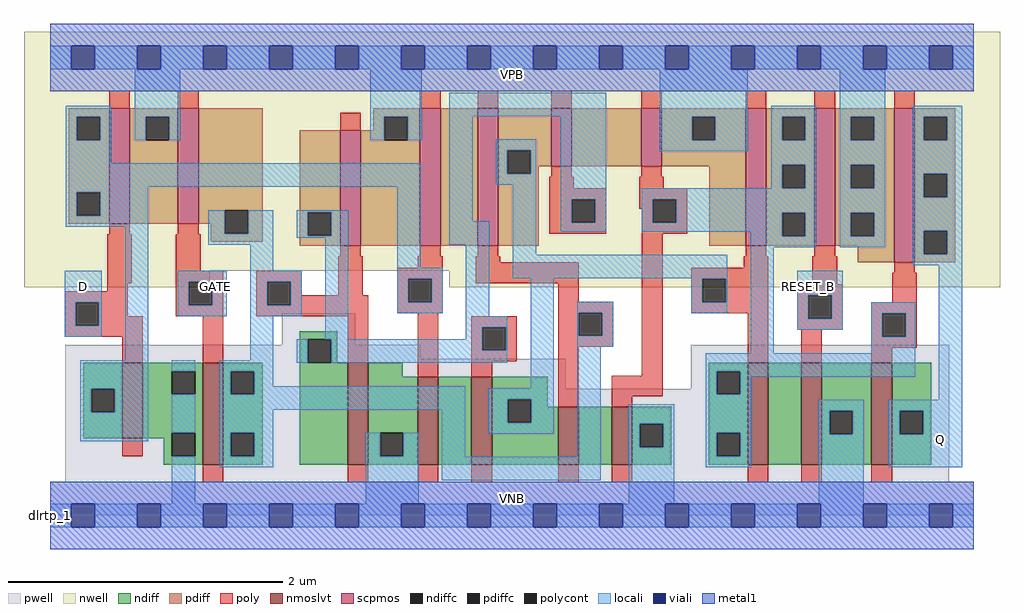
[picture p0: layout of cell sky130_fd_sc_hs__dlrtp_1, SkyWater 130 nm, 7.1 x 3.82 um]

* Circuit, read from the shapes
.subckt sky130_fd_sc_hs__dlrtp_1 D GATE RESET_B VGND VNB VPB VPWR Q
XM1 VGND D n1 VNB sky130_fd_pr__nfet_01v8_lvt w=0.55 l=0.15
XM2 n2 GATE VGND VNB sky130_fd_pr__nfet_01v8_lvt w=0.74 l=0.15
XM3 VGND n2 n3 VNB sky130_fd_pr__nfet_01v8_lvt w=0.74 l=0.15
XM4 n4 n1 VGND VNB sky130_fd_pr__nfet_01v8_lvt w=0.64 l=0.15
XM5 n5 n3 n4 VNB sky130_fd_pr__nfet_01v8_lvt w=0.64 l=0.15
XM6 n6 n2 n5 VNB sky130_fd_pr__nfet_01v8_lvt w=0.42 l=0.15
XM7 VGND n7 n6 VNB sky130_fd_pr__nfet_01v8_lvt w=0.42 l=0.15
XM8 n8 n5 n7 VNB sky130_fd_pr__nfet_01v8_lvt w=0.74 l=0.15
XM9 VGND RESET_B n8 VNB sky130_fd_pr__nfet_01v8_lvt w=0.74 l=0.15
XM10 Q n7 VGND VNB sky130_fd_pr__nfet_01v8_lvt w=0.74 l=0.15
XM11 VPWR D n1 VPB sky130_fd_pr__pfet_01v8 w=0.84 l=0.15
XM12 n2 GATE VPWR VPB sky130_fd_pr__pfet_01v8 w=0.84 l=0.15
XM13 VPWR n2 n3 VPB sky130_fd_pr__pfet_01v8 w=0.84 l=0.15
XM14 n9 n1 VPWR VPB sky130_fd_pr__pfet_01v8 w=1 l=0.15
XM15 n5 n2 n9 VPB sky130_fd_pr__pfet_01v8 w=1 l=0.15
XM16 n10 n3 n5 VPB sky130_fd_pr__pfet_01v8 w=0.42 l=0.15
XM17 VPWR n7 n10 VPB sky130_fd_pr__pfet_01v8 w=0.42 l=0.15
XM18 n7 n5 VPWR VPB sky130_fd_pr__pfet_01v8 w=1 l=0.15
XM19 VPWR RESET_B n7 VPB sky130_fd_pr__pfet_01v8 w=1 l=0.15
XM20 Q n7 VPWR VPB sky130_fd_pr__pfet_01v8 w=1.12 l=0.15
.ends

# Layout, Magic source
magic
tech sky130A
magscale 1 2
<< nwell >>
rect -38 356 1382 704
rect -38 332 232 356
rect 581 332 1382 356
<< pwell >>
rect 337 248 444 294
rect 22 228 539 248
rect 22 184 750 228
rect 932 184 1308 248
rect 22 49 1308 184
rect 0 0 1344 49
<< scpmos >>
rect 86 424 116 592
rect 186 424 216 592
rect 422 392 452 560
rect 538 392 568 592
rect 622 392 652 592
rect 729 508 759 592
rect 860 508 890 592
rect 1012 392 1042 592
rect 1112 392 1142 592
rect 1228 368 1258 592
<< nmoslvt >>
rect 105 112 135 222
rect 222 74 252 222
rect 433 74 463 222
rect 535 74 565 202
rect 613 74 643 202
rect 739 74 769 158
rect 817 74 847 158
rect 1015 74 1045 222
rect 1093 74 1123 222
rect 1195 74 1225 222
<< ndiff >>
rect 363 256 418 268
rect 363 222 375 256
rect 409 222 418 256
rect 48 184 105 222
rect 48 150 60 184
rect 94 150 105 184
rect 48 112 105 150
rect 135 210 222 222
rect 135 176 177 210
rect 211 176 222 210
rect 135 120 222 176
rect 135 112 177 120
rect 165 86 177 112
rect 211 86 222 120
rect 165 74 222 86
rect 252 210 309 222
rect 252 176 263 210
rect 297 176 309 210
rect 252 120 309 176
rect 252 86 263 120
rect 297 86 309 120
rect 252 74 309 86
rect 363 74 433 222
rect 463 202 513 222
rect 463 120 535 202
rect 463 86 480 120
rect 514 86 535 120
rect 463 74 535 86
rect 565 74 613 202
rect 643 169 724 202
rect 643 135 666 169
rect 700 158 724 169
rect 958 210 1015 222
rect 958 176 970 210
rect 1004 176 1015 210
rect 700 135 739 158
rect 643 74 739 135
rect 769 74 817 158
rect 847 133 904 158
rect 847 99 858 133
rect 892 99 904 133
rect 847 74 904 99
rect 958 120 1015 176
rect 958 86 970 120
rect 1004 86 1015 120
rect 958 74 1015 86
rect 1045 74 1093 222
rect 1123 152 1195 222
rect 1123 118 1134 152
rect 1168 118 1195 152
rect 1123 74 1195 118
rect 1225 152 1282 222
rect 1225 118 1236 152
rect 1270 118 1282 152
rect 1225 74 1282 118
<< pdiff >>
rect 27 580 86 592
rect 27 546 39 580
rect 73 546 86 580
rect 27 470 86 546
rect 27 436 39 470
rect 73 436 86 470
rect 27 424 86 436
rect 116 580 186 592
rect 116 546 139 580
rect 173 546 186 580
rect 116 424 186 546
rect 216 444 309 592
rect 470 580 538 592
rect 470 560 486 580
rect 216 424 254 444
rect 234 410 254 424
rect 288 410 309 444
rect 234 398 309 410
rect 363 441 422 560
rect 363 407 375 441
rect 409 407 422 441
rect 363 392 422 407
rect 452 546 486 560
rect 520 546 538 580
rect 452 392 538 546
rect 568 392 622 592
rect 652 531 729 592
rect 652 497 665 531
rect 699 508 729 531
rect 759 508 860 592
rect 890 580 1012 592
rect 890 546 934 580
rect 968 546 1012 580
rect 890 508 1012 546
rect 699 497 711 508
rect 652 392 711 497
rect 959 392 1012 508
rect 1042 580 1112 592
rect 1042 546 1065 580
rect 1099 546 1112 580
rect 1042 510 1112 546
rect 1042 476 1065 510
rect 1099 476 1112 510
rect 1042 440 1112 476
rect 1042 406 1065 440
rect 1099 406 1112 440
rect 1042 392 1112 406
rect 1142 580 1228 592
rect 1142 546 1165 580
rect 1199 546 1228 580
rect 1142 510 1228 546
rect 1142 476 1165 510
rect 1199 476 1228 510
rect 1142 440 1228 476
rect 1142 406 1165 440
rect 1199 406 1228 440
rect 1142 392 1228 406
rect 1175 368 1228 392
rect 1258 580 1317 592
rect 1258 546 1271 580
rect 1305 546 1317 580
rect 1258 497 1317 546
rect 1258 463 1271 497
rect 1305 463 1317 497
rect 1258 414 1317 463
rect 1258 380 1271 414
rect 1305 380 1317 414
rect 1258 368 1317 380
<< ndiffc >>
rect 375 222 409 256
rect 60 150 94 184
rect 177 176 211 210
rect 177 86 211 120
rect 263 176 297 210
rect 263 86 297 120
rect 480 86 514 120
rect 666 135 700 169
rect 970 176 1004 210
rect 858 99 892 133
rect 970 86 1004 120
rect 1134 118 1168 152
rect 1236 118 1270 152
<< pdiffc >>
rect 39 546 73 580
rect 39 436 73 470
rect 139 546 173 580
rect 254 410 288 444
rect 375 407 409 441
rect 486 546 520 580
rect 665 497 699 531
rect 934 546 968 580
rect 1065 546 1099 580
rect 1065 476 1099 510
rect 1065 406 1099 440
rect 1165 546 1199 580
rect 1165 476 1199 510
rect 1165 406 1199 440
rect 1271 546 1305 580
rect 1271 463 1305 497
rect 1271 380 1305 414
<< poly >>
rect 86 592 116 618
rect 186 592 216 618
rect 538 592 568 618
rect 622 592 652 618
rect 729 592 759 618
rect 860 592 890 618
rect 1012 592 1042 618
rect 1112 592 1142 618
rect 1228 592 1258 618
rect 422 560 452 586
rect 86 409 116 424
rect 186 409 216 424
rect 83 338 119 409
rect 183 356 219 409
rect 729 493 759 508
rect 860 493 890 508
rect 726 476 762 493
rect 857 476 893 493
rect 726 460 809 476
rect 726 426 759 460
rect 793 426 809 460
rect 857 460 927 476
rect 857 446 877 460
rect 726 410 809 426
rect 861 426 877 446
rect 911 426 927 460
rect 861 410 927 426
rect 422 377 452 392
rect 538 377 568 392
rect 622 377 652 392
rect 183 340 252 356
rect 83 326 113 338
rect 21 310 113 326
rect 21 276 37 310
rect 71 290 113 310
rect 183 306 202 340
rect 236 306 252 340
rect 183 290 252 306
rect 300 340 366 356
rect 300 306 316 340
rect 350 320 366 340
rect 419 320 455 377
rect 535 360 571 377
rect 505 344 571 360
rect 350 306 463 320
rect 300 290 463 306
rect 505 310 521 344
rect 555 310 571 344
rect 619 368 655 377
rect 619 338 769 368
rect 505 294 571 310
rect 739 311 769 338
rect 739 295 819 311
rect 71 276 135 290
rect 21 260 135 276
rect 105 222 135 260
rect 222 222 252 290
rect 433 222 463 290
rect 105 86 135 112
rect 535 202 565 294
rect 613 274 679 290
rect 613 240 629 274
rect 663 240 679 274
rect 613 224 679 240
rect 739 261 769 295
rect 803 261 819 295
rect 739 245 819 261
rect 613 202 643 224
rect 739 158 769 245
rect 861 203 891 410
rect 1012 377 1042 392
rect 1112 377 1142 392
rect 1009 360 1045 377
rect 933 344 1045 360
rect 933 310 949 344
rect 983 310 1045 344
rect 1109 336 1145 377
rect 1228 353 1258 368
rect 933 294 1045 310
rect 1015 222 1045 294
rect 1087 320 1153 336
rect 1087 286 1103 320
rect 1137 286 1153 320
rect 1225 310 1261 353
rect 1087 270 1153 286
rect 1195 294 1261 310
rect 1093 222 1123 270
rect 1195 260 1211 294
rect 1245 260 1261 294
rect 1195 244 1261 260
rect 1195 222 1225 244
rect 817 173 891 203
rect 817 158 847 173
rect 222 48 252 74
rect 433 48 463 74
rect 535 48 565 74
rect 613 48 643 74
rect 739 48 769 74
rect 817 48 847 74
rect 1015 48 1045 74
rect 1093 48 1123 74
rect 1195 48 1225 74
<< polycont >>
rect 759 426 793 460
rect 877 426 911 460
rect 37 276 71 310
rect 202 306 236 340
rect 316 306 350 340
rect 521 310 555 344
rect 629 240 663 274
rect 769 261 803 295
rect 949 310 983 344
rect 1103 286 1137 320
rect 1211 260 1245 294
<< locali >>
rect 0 649 31 683
rect 65 649 127 683
rect 161 649 223 683
rect 257 649 319 683
rect 353 649 415 683
rect 449 649 511 683
rect 545 649 607 683
rect 641 649 703 683
rect 737 649 799 683
rect 833 649 895 683
rect 929 649 991 683
rect 1025 649 1087 683
rect 1121 649 1183 683
rect 1217 649 1279 683
rect 1313 649 1344 683
rect 23 580 89 596
rect 23 546 39 580
rect 73 546 89 580
rect 123 580 189 649
rect 123 546 139 580
rect 173 546 189 580
rect 466 580 541 649
rect 466 546 486 580
rect 520 546 541 580
rect 581 581 809 615
rect 23 512 89 546
rect 23 478 539 512
rect 23 470 143 478
rect 23 436 39 470
rect 73 436 143 470
rect 23 420 143 436
rect 21 310 75 356
rect 21 276 37 310
rect 71 276 75 310
rect 21 260 75 276
rect 109 226 143 420
rect 230 410 254 444
rect 288 410 325 444
rect 230 394 325 410
rect 359 441 434 444
rect 359 407 375 441
rect 409 407 434 441
rect 359 404 434 407
rect 291 356 325 394
rect 186 340 257 356
rect 186 306 202 340
rect 236 306 257 340
rect 186 290 257 306
rect 291 340 366 356
rect 291 306 316 340
rect 350 306 366 340
rect 291 290 366 306
rect 291 226 325 290
rect 400 256 434 404
rect 505 360 539 478
rect 581 428 615 581
rect 649 531 707 547
rect 649 497 665 531
rect 699 497 707 531
rect 649 481 707 497
rect 581 394 639 428
rect 505 344 571 360
rect 505 310 521 344
rect 555 310 571 344
rect 505 294 571 310
rect 605 290 639 394
rect 673 379 707 481
rect 743 460 809 581
rect 887 580 1015 649
rect 887 546 934 580
rect 968 546 1015 580
rect 887 530 1015 546
rect 1049 580 1115 596
rect 1049 546 1065 580
rect 1099 546 1115 580
rect 1049 510 1115 546
rect 1049 476 1065 510
rect 1099 476 1115 510
rect 743 426 759 460
rect 793 426 809 460
rect 743 413 809 426
rect 861 460 1115 476
rect 861 426 877 460
rect 911 440 1115 460
rect 911 426 1065 440
rect 861 413 1065 426
rect 1019 406 1065 413
rect 1099 406 1115 440
rect 1019 390 1115 406
rect 1149 580 1215 649
rect 1149 546 1165 580
rect 1199 546 1215 580
rect 1149 510 1215 546
rect 1149 476 1165 510
rect 1199 476 1215 510
rect 1149 440 1215 476
rect 1149 406 1165 440
rect 1199 406 1215 440
rect 1149 390 1215 406
rect 1255 580 1327 596
rect 1255 546 1271 580
rect 1305 546 1327 580
rect 1255 497 1327 546
rect 1255 463 1271 497
rect 1305 463 1327 497
rect 1255 414 1327 463
rect 673 345 985 379
rect 605 274 665 290
rect 605 256 629 274
rect 44 184 143 226
rect 44 150 60 184
rect 94 150 143 184
rect 44 108 143 150
rect 177 210 211 226
rect 177 120 211 176
rect 177 17 211 86
rect 247 210 325 226
rect 359 222 375 256
rect 409 240 629 256
rect 663 240 665 274
rect 409 222 665 240
rect 247 176 263 210
rect 297 188 325 210
rect 297 176 604 188
rect 699 185 733 345
rect 933 344 985 345
rect 247 154 604 176
rect 247 120 325 154
rect 247 86 263 120
rect 297 86 325 120
rect 247 70 325 86
rect 459 86 480 120
rect 514 86 536 120
rect 459 17 536 86
rect 570 85 604 154
rect 638 169 733 185
rect 638 135 666 169
rect 700 135 733 169
rect 638 119 733 135
rect 767 295 819 311
rect 767 261 769 295
rect 803 261 819 295
rect 933 310 949 344
rect 983 310 985 344
rect 933 294 985 310
rect 767 245 819 261
rect 767 85 801 245
rect 1019 236 1053 390
rect 1255 380 1271 414
rect 1305 380 1327 414
rect 1255 364 1327 380
rect 1087 320 1153 356
rect 1087 286 1103 320
rect 1137 286 1153 320
rect 1087 270 1153 286
rect 1195 294 1259 310
rect 1195 260 1211 294
rect 1245 260 1259 294
rect 1195 236 1259 260
rect 954 210 1259 236
rect 954 176 970 210
rect 1004 202 1259 210
rect 1004 176 1020 202
rect 570 51 801 85
rect 842 133 908 162
rect 842 99 858 133
rect 892 99 908 133
rect 842 17 908 99
rect 954 120 1020 176
rect 1293 168 1327 364
rect 954 86 970 120
rect 1004 86 1020 120
rect 954 70 1020 86
rect 1118 152 1184 168
rect 1118 118 1134 152
rect 1168 118 1184 152
rect 1118 17 1184 118
rect 1220 152 1327 168
rect 1220 118 1236 152
rect 1270 118 1327 152
rect 1220 70 1327 118
rect 0 -17 31 17
rect 65 -17 127 17
rect 161 -17 223 17
rect 257 -17 319 17
rect 353 -17 415 17
rect 449 -17 511 17
rect 545 -17 607 17
rect 641 -17 703 17
rect 737 -17 799 17
rect 833 -17 895 17
rect 929 -17 991 17
rect 1025 -17 1087 17
rect 1121 -17 1183 17
rect 1217 -17 1279 17
rect 1313 -17 1344 17
<< viali >>
rect 31 649 65 683
rect 127 649 161 683
rect 223 649 257 683
rect 319 649 353 683
rect 415 649 449 683
rect 511 649 545 683
rect 607 649 641 683
rect 703 649 737 683
rect 799 649 833 683
rect 895 649 929 683
rect 991 649 1025 683
rect 1087 649 1121 683
rect 1183 649 1217 683
rect 1279 649 1313 683
rect 31 -17 65 17
rect 127 -17 161 17
rect 223 -17 257 17
rect 319 -17 353 17
rect 415 -17 449 17
rect 511 -17 545 17
rect 607 -17 641 17
rect 703 -17 737 17
rect 799 -17 833 17
rect 895 -17 929 17
rect 991 -17 1025 17
rect 1087 -17 1121 17
rect 1183 -17 1217 17
rect 1279 -17 1313 17
<< metal1 >>
rect 0 683 1344 715
rect 0 649 31 683
rect 65 649 127 683
rect 161 649 223 683
rect 257 649 319 683
rect 353 649 415 683
rect 449 649 511 683
rect 545 649 607 683
rect 641 649 703 683
rect 737 649 799 683
rect 833 649 895 683
rect 929 649 991 683
rect 1025 649 1087 683
rect 1121 649 1183 683
rect 1217 649 1279 683
rect 1313 649 1344 683
rect 0 617 1344 649
rect 0 17 1344 49
rect 0 -17 31 17
rect 65 -17 127 17
rect 161 -17 223 17
rect 257 -17 319 17
rect 353 -17 415 17
rect 449 -17 511 17
rect 545 -17 607 17
rect 641 -17 703 17
rect 737 -17 799 17
rect 833 -17 895 17
rect 929 -17 991 17
rect 1025 -17 1087 17
rect 1121 -17 1183 17
rect 1217 -17 1279 17
rect 1313 -17 1344 17
rect 0 -49 1344 -17
<< labels >>
rlabel comment s 0 0 0 0 4 dlrtp_1
flabel pwell s 0 0 1344 49 0 FreeSans 200 0 0 0 VNB
port 5 nsew ground bidirectional
flabel nwell s 0 617 1344 666 0 FreeSans 200 0 0 0 VPB
port 6 nsew power bidirectional
flabel metal1 s 0 617 1344 666 0 FreeSans 340 0 0 0 VPWR
port 7 nsew power bidirectional
flabel metal1 s 0 0 1344 49 0 FreeSans 340 0 0 0 VGND
port 4 nsew ground bidirectional
flabel locali s 1279 94 1313 128 0 FreeSans 340 0 0 0 Q
port 8 nsew signal output
flabel locali s 223 316 257 350 0 FreeSans 340 0 0 0 GATE
port 2 nsew clock input
flabel locali s 1087 316 1121 350 0 FreeSans 340 0 0 0 RESET_B
port 3 nsew signal input
flabel locali s 31 316 65 350 0 FreeSans 340 0 0 0 D
port 1 nsew signal input
<< properties >>
string LEFsite unit
string LEFclass CORE
string FIXED_BBOX 0 0 1344 666
string GDS_FILE $PDKPATH/libs.ref/sky130_fd_sc_hs/gds/sky130_fd_sc_hs.gds
string LEFsymmetry X Y
string GDS_END 900494
string GDS_START 890208
<< end >>
